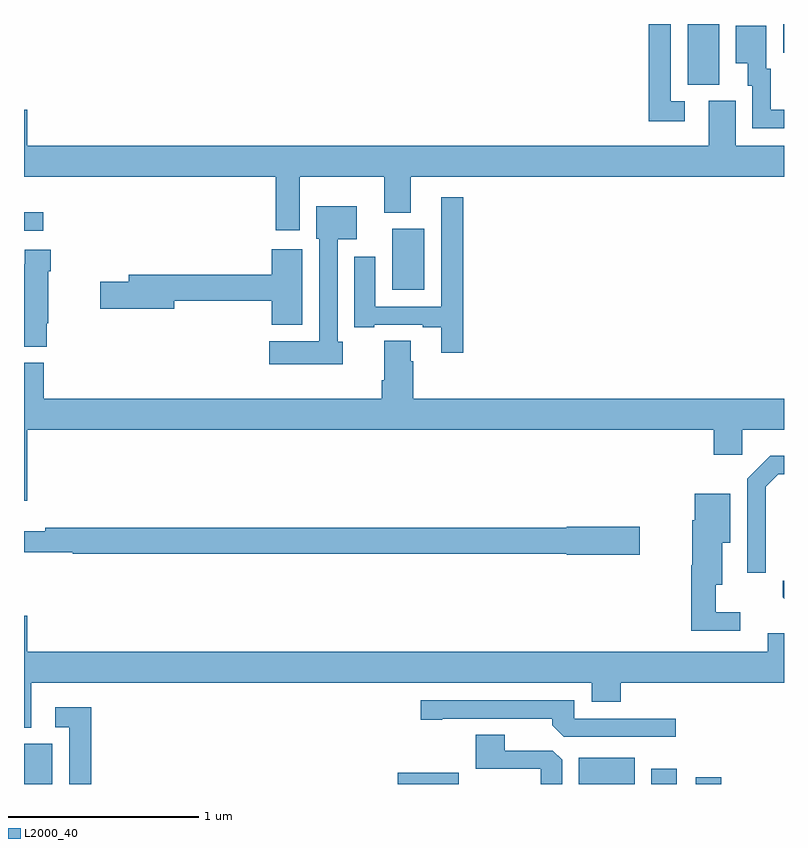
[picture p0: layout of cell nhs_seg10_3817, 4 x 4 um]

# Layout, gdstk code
import gdstk
lib = gdstk.Library(unit=1e-6, precision=1e-09)
def R(c, l, rs):  # rectangles x0, y0, x1, y1
    for r in rs: c.add(gdstk.rectangle(r[:2], r[2:], *l))
def P(c, l, *ps):  # polygons
    for p in ps: c.add(gdstk.Polygon(p, *l))
L2000_40 = (2000, 40)

nhs_seg10_3817 = lib.new_cell('nhs_seg10_3817')
R(nhs_seg10_3817, L2000_40, [(321,1250.5,321.148,1250.712), (322.967,1250.5,323.287,1250.56), (323.921,1250.5,324.214,1250.638), (324.302,1250.5,324.436,1250.581), (324.536,1250.5,324.671,1250.536), (322.937,1253.102,323.107,1253.422), (321,1253.412,321.1,1253.508), (324.494,1254.181,324.658,1254.5), (324.996,1254.348,325,1254.5)])
P(nhs_seg10_3817, L2000_40, [(324.478,1254.093),(324.405,1254.093),(324.405,1254.5),(324.289,1254.5),(324.289,1253.988),(324.478,1253.988)],
  [(325,1254.048),(324.931,1254.048),(324.931,1254.264),(324.907,1254.264),(324.907,1254.49),(324.746,1254.49),(324.746,1254.293),(324.809,1254.293),(324.809,1254.174),(324.834,1254.174),(324.834,1253.952),(325,1253.952)],
  [(322.45,1253.696),(322.895,1253.696),(322.895,1253.507),(323.035,1253.507),(323.035,1253.696),(325,1253.696),(325,1253.86),(324.745,1253.86),(324.745,1254.096),(324.605,1254.096),(324.605,1253.86),(321.016,1253.86),(321.016,1254.049),(321,1254.049),(321,1253.696),(322.325,1253.696),(322.325,1253.415),(322.45,1253.415)],
  [(323.312,1253.587),(323.196,1253.587),(323.196,1253.013),(322.849,1253.013),(322.849,1253.275),(322.739,1253.275),(322.739,1252.905),(322.843,1252.905),(322.843,1252.917),(323.099,1252.917),(323.099,1252.905),(323.195,1252.905),(323.195,1252.77),(323.312,1252.77)],
  [(322.678,1252.827),(322.65,1252.827),(322.65,1253.366),(322.75,1253.366),(322.75,1253.542),(322.538,1253.542),(322.538,1253.37),(322.554,1253.37),(322.554,1252.831),(322.29,1252.831),(322.29,1252.709),(322.678,1252.709)],
  [(322.465,1253.314),(322.304,1253.314),(322.304,1253.18),(321.551,1253.18),(321.551,1253.144),(321.402,1253.144),(321.402,1253.002),(321.79,1253.002),(321.79,1253.044),(322.304,1253.044),(322.304,1252.916),(322.465,1252.916)],
  [(321.119,1252.926),(321.127,1252.926),(321.127,1253.198),(321.14,1253.198),(321.14,1253.311),(321.005,1253.311),(321.005,1253.236),(321,1253.236),(321,1252.801),(321.119,1252.801)],
  [(321.016,1252.364),(324.629,1252.364),(324.629,1252.233),(324.78,1252.233),(324.78,1252.364),(325,1252.364),(325,1252.528),(323.048,1252.528),(323.048,1252.724),(323.035,1252.724),(323.035,1252.832),(322.895,1252.832),(322.895,1252.624),(322.883,1252.624),(322.883,1252.528),(321.104,1252.528),(321.104,1252.716),(321,1252.716),(321,1251.99),(321.016,1251.99)],
  [(324.903,1252.065),(324.969,1252.131),(325,1252.131),(325,1252.228),(324.928,1252.228),(324.807,1252.107),(324.807,1251.612),(324.903,1251.612)],
  [(324.769,1251.403),(324.64,1251.403),(324.64,1251.548),(324.676,1251.548),(324.676,1251.77),(324.718,1251.77),(324.718,1252.027),(324.53,1252.027),(324.53,1251.888),(324.518,1251.888),(324.518,1251.652),(324.511,1251.652),(324.511,1251.306),(324.769,1251.306)],
  [(324.241,1251.854),(323.856,1251.854),(323.856,1251.848),(321.112,1251.848),(321.112,1251.829),(321,1251.829),(321,1251.72),(321.256,1251.72),(321.256,1251.712),(323.856,1251.712),(323.856,1251.707),(324.241,1251.707)],
  [(325,1251.571),(324.993,1251.571),(324.993,1251.483),(325,1251.476)],
  [(321.037,1251.032),(323.987,1251.032),(323.987,1250.933),(324.14,1250.933),(324.14,1251.032),(325,1251.032),(325,1251.294),(324.914,1251.294),(324.914,1251.196),(321.016,1251.196),(321.016,1251.385),(321,1251.385),(321,1250.797),(321.037,1250.797)],
  [(324.43,1250.844),(323.895,1250.844),(323.895,1250.94),(323.088,1250.94),(323.088,1250.839),(323.2,1250.839),(323.2,1250.844),(323.78,1250.844),(323.78,1250.81),(323.841,1250.748),(324.43,1250.748)],
  [(321.353,1250.905),(321.165,1250.905),(321.165,1250.799),(321.237,1250.799),(321.237,1250.5),(321.353,1250.5)],
  [(323.833,1250.627),(323.784,1250.676),(323.53,1250.676),(323.53,1250.759),(323.378,1250.759),(323.378,1250.58),(323.721,1250.58),(323.721,1250.5),(323.833,1250.5)])

lib.write_gds('nhs_seg10_3817.gds')
